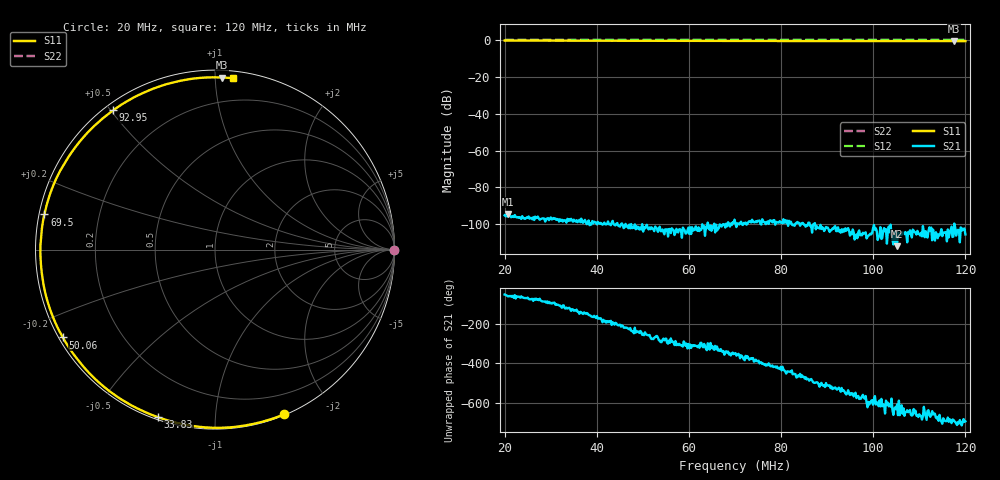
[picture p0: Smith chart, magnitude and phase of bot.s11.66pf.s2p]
! Anritsu VNA Master:  Model: MS2036C/10/77
! SN:  1601066
! /card0/usr/bot.s11.66pf.s2p
! Existing Calibration Information:
! TYPE:  Current Settings,  Active Cal Settings
! TIME:  05/23/2018 11:54:57 AM,  05/23/2018 11:36:58 AM
! INTERNAL TEMP:  48.3 C,  48.8 C
! # POINTS:  500,  500
! START FREQ:  20.000 MHz,  20.000 MHz
! STOP FREQ:  120.000 MHz,  120.000 MHz
! SOURCE POWER:  High,  High
! IFBW:  50 Hz,  50 Hz
! AVG FACTOR:  1 ,  1
! REF PLANE 1:  0 mm,  0 mm
! REF PLANE 2:  0 mm,  0 mm
! CAL TYPE:  Full S11,  Full S11
! CAL METHOD:  SOLT,  SOLT
! CAL LINE TYPE:  Coax,  Coax
! DUT PORT 1:  K-Conn(M),  K-Conn(M)
! DUT PORT 2:  K-Conn(M),  K-Conn(M)
! CAL STATUS:  OK: Accuracy High,  --
# GHZ S DB R 50.0
! FREQ.GHZ  S11DB  S11A  S21DB  S21A  S12DB  S12A  S22DB  S22A
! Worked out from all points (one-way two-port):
!   500 points, 20 MHz to 120 MHz, reference 50 ohm
!   highest |S21| = -94.45 dB at 20.8 MHz (marker M1); lowest = -111.9 dB at 105.2 MHz (marker M2)
!   lowest |S11| = -0.4 dB at 117.6 MHz (marker M3), VSWR 48.50, Z = 2.15 + j52.1 ohm
!   |S11| at or under -10 dB: nowhere
!   |S22| runs from 0.0 to 0.0 dB; largest |S21 - S12| = 1
!   S11 on the Smith chart (normalised r, x): 20 MHz: 0.01, -1.50; 33.83 MHz: 0.01, -0.72; 50.06 MHz: 0.01, -0.27; 69.5 MHz: 0.01, +0.10; 92.95 MHz: 0.02, +0.51; 120 MHz: 0.05, +1.11
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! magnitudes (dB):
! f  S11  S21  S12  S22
! 20 MHz  0.0  -95.1  0.0  0.0
! 20.8 MHz  0.0  -94.5  0.0  0.0
! 27.01 MHz  -0.1  -96.5  0.0  0.0
! 33.83 MHz  -0.1  -98.2  0.0  0.0
! 36.83 MHz  -0.1  -98.8  0.0  0.0
! 40.64 MHz  -0.1  -99.7  0.0  0.0
! 46.45 MHz  -0.2  -101.2  0.0  0.0
! 50.06 MHz  -0.2  -104.0  0.0  0.0
! 53.47 MHz  -0.2  -102.2  0.0  0.0
! 60.88 MHz  -0.2  -103.5  0.0  0.0
! 62.89 MHz  -0.2  -100.0  0.0  0.0
! 69.5 MHz  -0.3  -98.9  0.0  0.0
! 70.1 MHz  -0.3  -99.5  0.0  0.0
! 75.71 MHz  -0.3  -100.1  0.0  0.0
! 81.12 MHz  -0.3  -99.1  0.0  0.0
! 86.73 MHz  -0.3  -104.5  0.0  0.0
! 92.95 MHz  -0.3  -104.6  0.0  0.0
! 100.6 MHz  -0.4  -102.2  0.0  0.0
! 103.4 MHz  -0.4  -101.2  0.0  0.0
! 105.2 MHz  -0.3  -111.9  0.0  0.0
! 117.6 MHz  -0.4  -99.6  0.0  0.0
! 120 MHz  -0.4  -105.6  0.0  0.0
